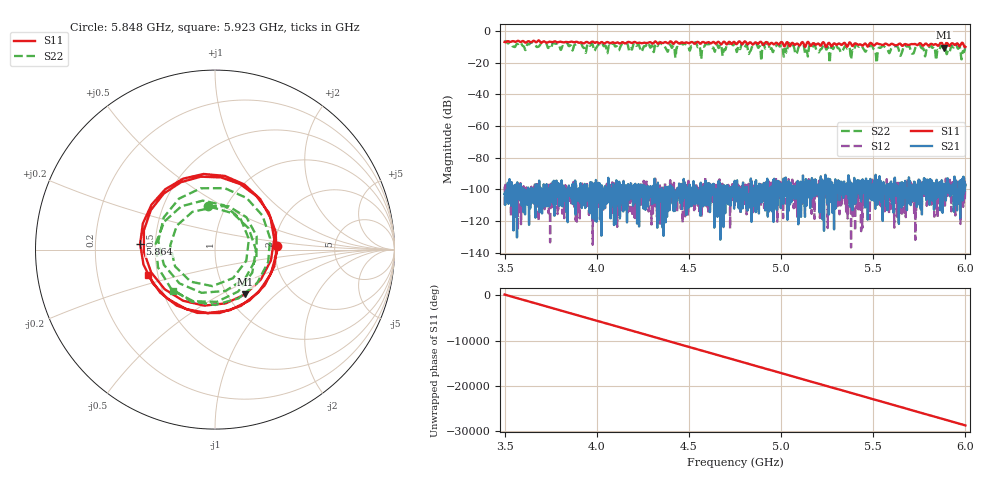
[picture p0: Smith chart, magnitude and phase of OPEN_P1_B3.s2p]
# Hz S RI R 50
! RAW DATA - UNCALIBRATED
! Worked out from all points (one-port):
!   1601 points, 3.5 GHz to 6 GHz, reference 50 ohm
!   lowest |S11| = -10.4 dB at 5.884 GHz (marker M1), VSWR 1.86, Z = 60.3 - j33.1 ohm
!   |S11| at or under -10 dB: 5.129638 GHz to 5.131402 GHz (1.764 MHz wide, 0.0344 % of centre); 5.881356 GHz to 5.887311 GHz (5.955 MHz wide, 0.101 % of centre); 5.994586 GHz to end of sweep (the widest 3 of 4)
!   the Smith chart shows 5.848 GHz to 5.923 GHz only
!   S11 on the Smith chart (normalised r, x): 5.848 GHz: 2.06, +0.10; 5.864 GHz: 0.41, +0.03; 5.923 GHz: 0.44, -0.15
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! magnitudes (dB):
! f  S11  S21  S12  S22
! 3.5 GHz  -6.9  -103.0  -110.1  -7.5
! 3.917 GHz  -7.2  -99.9  -110.7  -8.2
! 4.244 GHz  -7.7  -100.2  -102.8  -13.0
! 4.334 GHz  -8.0  -99.9  -108.4  -8.3
! 4.433 GHz  -6.8  -107.5  -100.7  -10.9
! 4.464 GHz  -7.3  -97.9  -104.0  -8.3
! 4.561 GHz  -8.1  -113.1  -118.0  -11.4
! 4.602 GHz  -7.1  -101.2  -111.6  -8.4
! 4.689 GHz  -6.8  -99.8  -101.1  -12.0
! 4.75 GHz  -7.4  -100.6  -98.8  -8.7
! 4.991 GHz  -8.3  -98.7  -97.8  -9.6
! 5.022 GHz  -9.2  -100.6  -104.7  -11.3
! 5.111 GHz  -7.4  -96.8  -97.9  -9.3
! 5.138 GHz  -8.3  -110.5  -98.8  -12.4
! 5.167 GHz  -8.6  -93.0  -98.5  -10.6
! 5.584 GHz  -9.0  -103.9  -97.8  -13.6
! 5.819 GHz  -8.3  -98.1  -100.8  -10.4
! 5.848 GHz  -9.2  -100.4  -100.5  -12.2
! 5.864 GHz  -7.6  -113.3  -102.6  -9.9
! 5.884 GHz  -10.4  -96.5  -96.9  -9.7
! 5.923 GHz  -8.0  -98.0  -113.9  -9.7
! 6 GHz  -10.1  -97.3  -96.3  -10.0
